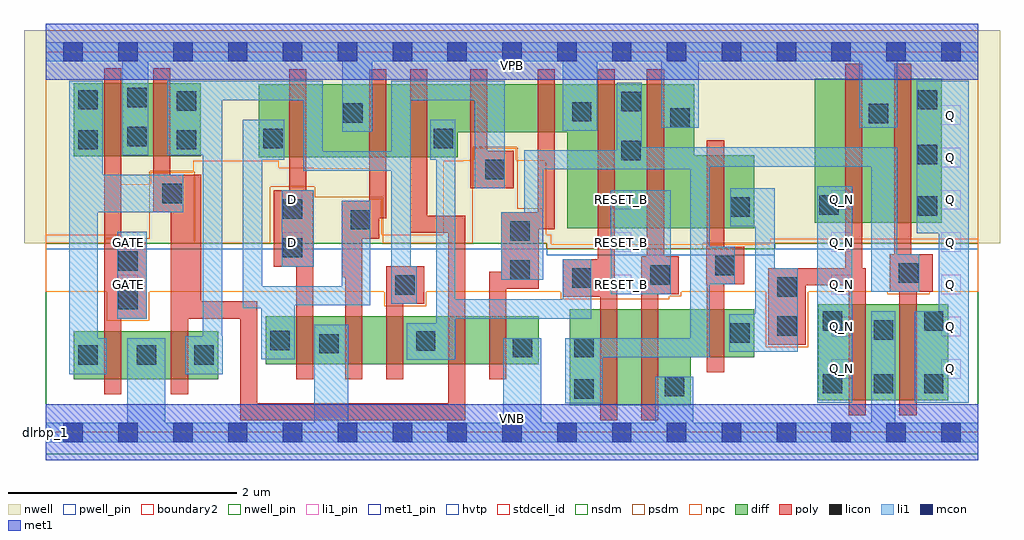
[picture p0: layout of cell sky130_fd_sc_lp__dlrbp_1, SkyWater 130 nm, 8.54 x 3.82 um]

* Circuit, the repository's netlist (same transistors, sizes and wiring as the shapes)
* Copyright 2020 The SkyWater PDK Authors
*
* Licensed under the Apache License, Version 2.0 (the "License");
* you may not use this file except in compliance with the License.
* You may obtain a copy of the License at
*
*     https://www.apache.org/licenses/LICENSE-2.0
*
* Unless required by applicable law or agreed to in writing, software
* distributed under the License is distributed on an "AS IS" BASIS,
* WITHOUT WARRANTIES OR CONDITIONS OF ANY KIND, either express or implied.
* See the License for the specific language governing permissions and
* limitations under the License.
*
* SPDX-License-Identifier: Apache-2.0

.SUBCKT sky130_fd_sc_lp__dlrbp_1 D GATE RESET_B VGND VNB VPB VPWR Q Q_N
*.PININFO D:I GATE:I RESET_B:I VGND:I VNB:I VPB:I VPWR:I Q:O Q_N:O
MI635 clkpos clkneg VPWR VPB sky130_fd_pr__pfet_01v8_hvt m=1 w=0.64U l=0.15U mult=1
+ sa=0.265 sb=0.265 sd=0.28 area=0.063 perim=1.14
MI648 Q_N net79 VPWR VPB sky130_fd_pr__pfet_01v8_hvt m=1 w=1.26U l=0.15U mult=1
+ sa=0.265 sb=0.265 sd=0.28 area=0.063 perim=1.14
MI17 M0 clkneg net51 VPB sky130_fd_pr__pfet_01v8_hvt m=1 w=0.64U l=0.15U mult=1
+ sa=0.265 sb=0.265 sd=0.28 area=0.063 perim=1.14
MI646 net79 m1 VPWR VPB sky130_fd_pr__pfet_01v8_hvt m=1 w=0.64U l=0.15U mult=1
+ sa=0.265 sb=0.265 sd=0.28 area=0.063 perim=1.14
MI650 Q m1 VPWR VPB sky130_fd_pr__pfet_01v8_hvt m=1 w=1.26U l=0.15U mult=1 sa=0.265
+ sb=0.265 sd=0.28 area=0.063 perim=1.14
MI633 clkneg GATE VPWR VPB sky130_fd_pr__pfet_01v8_hvt m=1 w=0.64U l=0.15U mult=1
+ sa=0.265 sb=0.265 sd=0.28 area=0.063 perim=1.14
MI658 m1 RESET_B VPWR VPB sky130_fd_pr__pfet_01v8_hvt m=1 w=1.26U l=0.15U mult=1
+ sa=0.265 sb=0.265 sd=0.28 area=0.063 perim=1.14
MI18 net51 db VPWR VPB sky130_fd_pr__pfet_01v8_hvt m=1 w=0.64U l=0.15U mult=1 sa=0.265
+ sb=0.265 sd=0.28 area=0.063 perim=1.14
MI653 net59 m1 VPWR VPB sky130_fd_pr__pfet_01v8_hvt m=1 w=0.42U l=0.15U mult=1
+ sa=0.265 sb=0.265 sd=0.28 area=0.063 perim=1.14
MI651 M0 clkpos net59 VPB sky130_fd_pr__pfet_01v8_hvt m=1 w=0.42U l=0.15U mult=1
+ sa=0.265 sb=0.265 sd=0.28 area=0.063 perim=1.14
MI655 m1 M0 VPWR VPB sky130_fd_pr__pfet_01v8_hvt m=1 w=1.26U l=0.15U mult=1 sa=0.265
+ sb=0.265 sd=0.28 area=0.063 perim=1.14
MI638 db D VPWR VPB sky130_fd_pr__pfet_01v8_hvt m=1 w=0.64U l=0.15U mult=1 sa=0.265
+ sb=0.265 sd=0.28 area=0.063 perim=1.14
MI634 clkneg GATE VGND VNB sky130_fd_pr__nfet_01v8 m=1 w=0.42U l=0.15U mult=1 sa=0.265
+ sb=0.265 sd=0.28 area=0.063 perim=1.14
MI647 Q_N net79 VGND VNB sky130_fd_pr__nfet_01v8 m=1 w=0.84U l=0.15U mult=1 sa=0.265
+ sb=0.265 sd=0.28 area=0.063 perim=1.14
MI649 Q m1 VGND VNB sky130_fd_pr__nfet_01v8 m=1 w=0.84U l=0.15U mult=1 sa=0.265
+ sb=0.265 sd=0.28 area=0.063 perim=1.14
MI645 net79 m1 VGND VNB sky130_fd_pr__nfet_01v8 m=1 w=0.42U l=0.15U mult=1 sa=0.265
+ sb=0.265 sd=0.28 area=0.063 perim=1.14
MI657 net86 RESET_B VGND VNB sky130_fd_pr__nfet_01v8 m=1 w=0.84U l=0.15U mult=1
+ sa=0.265 sb=0.265 sd=0.28 area=0.063 perim=1.14
MI652 M0 clkneg net102 VNB sky130_fd_pr__nfet_01v8 m=1 w=0.42U l=0.15U mult=1 sa=0.265
+ sb=0.265 sd=0.28 area=0.063 perim=1.14
MI654 net102 m1 VGND VNB sky130_fd_pr__nfet_01v8 m=1 w=0.42U l=0.15U mult=1 sa=0.265
+ sb=0.265 sd=0.28 area=0.063 perim=1.14
MI656 m1 M0 net86 VNB sky130_fd_pr__nfet_01v8 m=1 w=0.84U l=0.15U mult=1 sa=0.265
+ sb=0.265 sd=0.28 area=0.063 perim=1.14
MI636 clkpos clkneg VGND VNB sky130_fd_pr__nfet_01v8 m=1 w=0.42U l=0.15U mult=1
+ sa=0.265 sb=0.265 sd=0.28 area=0.063 perim=1.14
MI637 db D VGND VNB sky130_fd_pr__nfet_01v8 m=1 w=0.42U l=0.15U mult=1 sa=0.265
+ sb=0.265 sd=0.28 area=0.063 perim=1.14
MI19 M0 clkpos net98 VNB sky130_fd_pr__nfet_01v8 m=1 w=0.42U l=0.15U mult=1 sa=0.265
+ sb=0.265 sd=0.28 area=0.063 perim=1.14
MI20 net98 db VGND VNB sky130_fd_pr__nfet_01v8 m=1 w=0.42U l=0.15U mult=1 sa=0.265
+ sb=0.265 sd=0.28 area=0.063 perim=1.14
.ENDS sky130_fd_sc_lp__dlrbp_1

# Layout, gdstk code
import gdstk
lib = gdstk.Library(unit=1e-6, precision=1e-09)
def R(c, l, rs):  # rectangles x0, y0, x1, y1
    for r in rs: c.add(gdstk.rectangle(r[:2], r[2:], *l))
def A(c, l, x, y, w, h, nx, ny, dx, dy):  # array of equal rectangles
    R(c, l, [(x+i*dx, y+j*dy, x+i*dx+w, y+j*dy+h) for i in range(nx) for j in range(ny)])
def P(c, l, *ps):  # polygons
    for p in ps: c.add(gdstk.Polygon(p, *l))
nwell_pin = (64, 16)
nwell = (64, 20)
diff = (65, 20)
poly = (66, 20)
licon = (66, 44)
li1_pin = (67, 16)
li1 = (67, 20)
mcon = (67, 44)
met1_pin = (68, 16)
met1 = (68, 20)
hvtp = (78, 44)
stdcell_id = (81, 4)
nsdm = (93, 44)
psdm = (94, 20)
npc = (95, 20)
pwell_pin = (122, 16)
boundary2 = (236, 0)

sky130_fd_sc_lp__dlrbp_1 = lib.new_cell('sky130_fd_sc_lp__dlrbp_1')
R(sky130_fd_sc_lp__dlrbp_1, nwell_pin, [(0,3.085,8.16,3.33)])
P(sky130_fd_sc_lp__dlrbp_1, nwell, [(8.35,3.52),(-0.19,3.52),(-0.19,1.655),(4.385,1.655),(4.385,1.605),(6.38,1.605),(6.38,1.655),(8.35,1.655)])
R(sky130_fd_sc_lp__dlrbp_1, diff, [(6.76,0.28,7.895,1.12), (0.245,0.465,1.51,0.885), (1.925,0.595,4.315,1.015), (6.73,1.835,7.84,3.095), (0.245,2.415,1.355,3.055)])
P(sky130_fd_sc_lp__dlrbp_1, diff, [(6.2,2.425),(5.675,2.425),(5.675,3.045),(1.865,3.045),(1.865,2.405),(3.605,2.405),(3.605,2.625),(4.565,2.625),(4.565,1.785),(6.2,1.785)],
  [(6.2,1.075),(4.585,1.075),(4.585,0.235),(5.645,0.235),(5.645,0.655),(6.2,0.655)])
P(sky130_fd_sc_lp__dlrbp_1, poly, [(0.885,1.665),(0.66,1.665),(0.66,3.185),(0.51,3.185),(0.51,0.335),(0.66,0.335),(0.66,0.995),(0.885,0.995)],
  [(2.34,2.12),(2.28,2.12),(2.28,3.175),(2.13,3.175),(2.13,2.12),(1.995,2.12),(1.995,1.45),(2.19,1.45),(2.19,0.465),(2.34,0.465)],
  [(2.98,3.175),(2.83,3.175),(2.83,2.025),(2.59,2.025),(2.59,1.355),(2.62,1.355),(2.62,0.465),(2.77,0.465),(2.77,1.695),(2.92,1.695),(2.92,1.875),(2.98,1.875)],
  [(3.31,1.455),(2.98,1.455),(2.98,0.465),(3.13,0.465),(3.13,1.125),(3.31,1.125)],
  [(3.67,1.895),(3.34,1.895),(3.34,3.175),(3.19,3.175),(3.19,1.745),(3.52,1.745),(3.52,0.255),(1.85,0.255),(1.85,1.145),(1.36,1.145),(1.36,2.255),(1.09,2.255),(1.09,3.185),(0.94,3.185),(0.94,1.925),(1.095,1.925),(1.095,0.335),(1.245,0.335),(1.245,0.995),(1.7,0.995),(1.7,0.105),(3.67,0.105)],
  [(4.095,2.465),(3.865,2.465),(3.865,3.175),(3.715,3.175),(3.715,2.135),(4.095,2.135)],
  [(4.455,3.175),(4.305,3.175),(4.305,1.925),(3.985,1.925),(3.985,1.405),(3.88,1.405),(3.88,0.465),(4.03,0.465),(4.03,1.255),(4.315,1.255),(4.315,1.775),(4.455,1.775)],
  [(5,1.335),(4.98,1.335),(4.98,3.175),(4.83,3.175),(4.83,1.515),(4.525,1.515),(4.525,1.185),(4.85,1.185),(4.85,0.105),(5,0.105)],
  [(5.54,1.54),(5.41,1.54),(5.41,3.175),(5.26,3.175),(5.26,1.54),(5.21,1.54),(5.21,0.105),(5.36,0.105),(5.36,1.21),(5.54,1.21)],
  [(6.11,1.625),(5.935,1.625),(5.935,2.555),(5.785,2.555),(5.785,1.625),(5.78,1.625),(5.78,1.295),(5.785,1.295),(5.785,0.525),(5.935,0.525),(5.935,1.295),(6.11,1.295)],
  [(7.175,1.435),(7.145,1.435),(7.145,3.225),(6.995,3.225),(6.995,1.435),(6.32,1.435),(6.32,0.765),(6.65,0.765),(6.65,1.285),(7.025,1.285),(7.025,0.15),(7.175,0.15)],
  [(7.76,1.56),(7.575,1.56),(7.575,3.225),(7.425,3.225),(7.425,1.56),(7.385,1.56),(7.385,1.23),(7.47,1.23),(7.47,0.15),(7.62,0.15),(7.62,1.23),(7.76,1.23)])
R(sky130_fd_sc_lp__dlrbp_1, licon, [(4.625,0.295,4.795,0.465), (5.415,0.315,5.585,0.485), (6.8,0.34,6.97,0.51), (7.245,0.34,7.415,0.51), (7.685,0.34,7.855,0.51), (0.285,0.59,0.455,0.76), (0.795,0.59,0.965,0.76), (1.3,0.59,1.47,0.76), (4.085,0.655,4.255,0.825), (4.625,0.655,4.795,0.825), (2.395,0.69,2.565,0.86), (3.24,0.715,3.41,0.885), (1.965,0.72,2.135,0.89), (5.99,0.785,6.16,0.955), (7.245,0.81,7.415,0.98), (6.4,0.845,6.57,1.015), (6.8,0.89,6.97,1.06), (7.685,0.89,7.855,1.06), (0.635,1.075,0.805,1.245), (6.4,1.185,6.57,1.355), (3.06,1.205,3.23,1.375), (4.605,1.265,4.775,1.435), (5.29,1.29,5.46,1.46), (7.465,1.31,7.635,1.48), (4.065,1.335,4.235,1.505), (5.86,1.375,6.03,1.545), (0.635,1.415,0.805,1.585), (2.075,1.53,2.245,1.7), (4.065,1.675,4.235,1.845), (2.67,1.775,2.84,1.945), (2.075,1.87,2.245,2.04), (5.99,1.885,6.16,2.055), (7.63,1.895,7.8,2.065), (6.77,1.905,6.94,2.075), (1.02,2.005,1.19,2.175), (3.845,2.215,4.015,2.385), (7.63,2.345,7.8,2.515), (5.035,2.38,5.205,2.55), (0.285,2.475,0.455,2.645), (1.145,2.475,1.315,2.645), (1.905,2.485,2.075,2.655), (3.395,2.485,3.565,2.655), (0.715,2.505,0.885,2.675), (5.465,2.665,5.635,2.835), (7.2,2.705,7.37,2.875), (2.605,2.71,2.775,2.88), (4.605,2.72,4.775,2.89), (5.035,2.81,5.205,2.98), (1.145,2.815,1.315,2.985), (0.285,2.825,0.455,2.995), (7.63,2.825,7.8,2.995), (0.715,2.845,0.885,3.015)])
A(sky130_fd_sc_lp__dlrbp_1, li1_pin, 6.875, 0.47, 0.17, 0.17, 1, 5, 0, 0.37)
A(sky130_fd_sc_lp__dlrbp_1, li1_pin, 7.835, 0.47, 0.17, 0.17, 1, 7, 0, 0.37)
A(sky130_fd_sc_lp__dlrbp_1, li1_pin, 4.955, 1.21, 0.17, 0.17, 1, 3, 0, 0.37)
R(sky130_fd_sc_lp__dlrbp_1, li1_pin, [(0.635,1.21,0.805,1.38), (0.635,1.58,0.805,1.75), (2.075,1.58,2.245,1.75), (2.075,1.95,2.245,2.12)])
R(sky130_fd_sc_lp__dlrbp_1, li1, [(6.75,0.26,7.055,2.155), (0.625,0.995,0.885,1.755), (4.945,1.21,5.47,2.12), (2.065,1.45,2.345,2.12)])
P(sky130_fd_sc_lp__dlrbp_1, li1, [(1.205,2.255),(0.5,2.255),(0.5,3.075),(0.205,3.075),(0.205,0.51),(0.535,0.51),(0.535,0.825),(0.455,0.825),(0.455,1.925),(1.205,1.925)],
  [(4.015,3.075),(3.025,3.075),(3.025,2.46),(2.425,2.46),(2.425,3.075),(1.065,3.075),(1.065,2.425),(1.375,2.425),(1.375,0.84),(1.22,0.84),(1.22,0.51),(1.55,0.51),(1.55,0.84),(1.545,0.84),(1.545,2.905),(2.255,2.905),(2.255,2.29),(3.025,2.29),(3.025,1.125),(3.245,1.125),(3.245,1.455),(3.195,1.455),(3.195,2.905),(3.755,2.905),(3.755,2.135),(4.015,2.135)],
  [(2.595,2.63),(2.595,3.245),(0.895,3.245),(0.895,2.425),(0.67,2.425),(0.67,3.245),(0,3.245),(0,3.415),(8.16,3.415),(8.16,3.245),(7.45,3.245),(7.45,2.665),(7.12,2.665),(7.12,3.245),(5.715,3.245),(5.715,2.665),(5.385,2.665),(5.385,3.245),(4.825,3.245),(4.825,2.64),(4.525,2.64),(4.525,3.245),(2.855,3.245),(2.855,2.63)],
  [(2.35,0.085),(2.35,0.94),(2.645,0.94),(2.645,0.085),(4.005,0.085),(4.005,0.825),(4.335,0.825),(4.335,0.085),(5.335,0.085),(5.335,0.485),(5.665,0.485),(5.665,0.085),(7.225,0.085),(7.225,1.06),(7.435,1.06),(7.435,0.085),(8.16,0.085),(8.16,-0.085),(0,-0.085),(0,0.085),(0.715,0.085),(0.715,0.825),(1.045,0.825),(1.045,0.085)],
  [(7.645,1.56),(7.45,1.56),(7.45,2.495),(5.215,2.495),(5.215,3.06),(4.995,3.06),(4.995,2.47),(4.185,2.47),(4.185,1.925),(3.985,1.925),(3.985,1.335),(4.355,1.335),(4.355,2.3),(5.64,2.3),(5.64,0.825),(4.545,0.825),(4.545,0.255),(4.875,0.255),(4.875,0.655),(5.81,0.655),(5.81,1.295),(6.03,1.295),(6.03,1.625),(5.81,1.625),(5.81,2.325),(7.225,2.325),(7.225,1.23),(7.645,1.23)],
  [(6.38,1.435),(6.58,1.435),(6.58,0.705),(5.98,0.705),(5.98,1.035),(6.21,1.035),(6.21,1.805),(5.99,1.805),(5.99,2.135),(6.38,2.135)],
  [(8.075,3.075),(7.62,3.075),(7.62,1.74),(7.815,1.74),(7.815,1.06),(7.605,1.06),(7.605,0.26),(8.075,0.26)],
  [(3.585,1.165),(4.525,1.165),(4.525,1.515),(4.775,1.515),(4.775,0.995),(3.585,0.995),(3.585,0.635),(3.16,0.635),(3.16,0.955),(3.415,0.955),(3.415,2.385),(3.365,2.385),(3.365,2.735),(3.585,2.735)],
  [(1.895,2.385),(1.895,1.28),(2.59,1.28),(2.59,2.025),(2.84,2.025),(2.84,1.11),(2.18,1.11),(2.18,0.64),(1.885,0.64),(1.885,1.085),(1.725,1.085),(1.725,2.735),(2.085,2.735),(2.085,2.385)])
A(sky130_fd_sc_lp__dlrbp_1, mcon, 0.155, -0.085, 0.17, 0.17, 17, 2, 0.48, 3.33)
R(sky130_fd_sc_lp__dlrbp_1, met1_pin, [(0,0,8.16,0.245), (0,3.085,8.16,3.33)])
R(sky130_fd_sc_lp__dlrbp_1, met1, [(0,-0.245,8.16,0.245), (0,3.085,8.16,3.575)])
P(sky130_fd_sc_lp__dlrbp_1, hvtp, [(8.16,3.33),(0,3.33),(0,1.6),(4.385,1.6),(4.385,1.55),(6.38,1.55),(6.38,1.6),(8.16,1.6)])
R(sky130_fd_sc_lp__dlrbp_1, stdcell_id, [(0,0,8.16,3.33)])
P(sky130_fd_sc_lp__dlrbp_1, nsdm, [(8.16,1.655),(6.38,1.655),(6.38,1.605),(4.385,1.605),(4.385,1.655),(0,1.655),(0,-0.19),(8.16,-0.19)])
P(sky130_fd_sc_lp__dlrbp_1, psdm, [(8.16,3.52),(0,3.52),(0,1.655),(0.525,1.655),(0.525,1.695),(0.91,1.695),(0.91,2.285),(1.3,2.285),(1.3,1.655),(1.965,1.655),(1.965,2.15),(2.355,2.15),(2.355,2.055),(2.95,2.055),(2.95,1.655),(3.735,1.655),(3.735,2.495),(4.125,2.495),(4.125,1.955),(4.345,1.955),(4.345,1.655),(4.385,1.655),(4.385,1.605),(5.75,1.605),(5.75,1.655),(8.16,1.655)])
P(sky130_fd_sc_lp__dlrbp_1, npc, [(8.16,1.695),(6.34,1.695),(6.34,1.645),(4.425,1.645),(4.425,1.73),(4.38,1.73),(4.38,2.38),(4.115,2.38),(4.115,2.485),(3.745,2.485),(3.745,2.38),(3.655,2.38),(3.655,2.375),(3.48,2.375),(3.48,1.73),(2.94,1.73),(2.94,2.045),(2.835,2.045),(2.835,2.31),(2.345,2.31),(2.345,2.315),(2.04,2.315),(2.04,2.375),(1.29,2.375),(1.29,2.275),(0.92,2.275),(0.92,2.17),(0.655,2.17),(0.655,1.73),(0,1.73),(0,1.23),(0.535,1.23),(0.535,0.975),(0.905,0.975),(0.905,1.23),(2.96,1.23),(2.96,1.105),(3.33,1.105),(3.33,1.23),(4.505,1.23),(4.505,1.165),(5.455,1.165),(5.455,1.19),(5.56,1.19),(5.56,1.23),(6.3,1.23),(6.3,0.745),(6.67,0.745),(6.67,1.23),(7.365,1.23),(7.365,1.21),(7.735,1.21),(7.735,1.23),(8.16,1.23)])
R(sky130_fd_sc_lp__dlrbp_1, pwell_pin, [(0,0,8.16,0.245)])
R(sky130_fd_sc_lp__dlrbp_1, boundary2, [(0,0,8.16,3.33)])
sky130_fd_sc_lp__dlrbp_1.add(gdstk.Label('VNB', (4.08,0.123), layer=64, texttype=59))
sky130_fd_sc_lp__dlrbp_1.add(gdstk.Label('VPB', (4.08,3.208), layer=64, texttype=5))
sky130_fd_sc_lp__dlrbp_1.add(gdstk.Label('dlrbp_1', (0,0), layer=83, texttype=44))
sky130_fd_sc_lp__dlrbp_1.add(gdstk.Label('VPWR', (4.08,3.208), layer=68, texttype=5))
sky130_fd_sc_lp__dlrbp_1.add(gdstk.Label('VGND', (4.08,0.123), layer=68, texttype=5))
sky130_fd_sc_lp__dlrbp_1.add(gdstk.Label('D', (2.16,1.665), layer=67, texttype=5))
sky130_fd_sc_lp__dlrbp_1.add(gdstk.Label('D', (2.16,2.035), layer=67, texttype=5))
sky130_fd_sc_lp__dlrbp_1.add(gdstk.Label('GATE', (0.72,1.295), layer=67, texttype=5))
sky130_fd_sc_lp__dlrbp_1.add(gdstk.Label('GATE', (0.72,1.665), layer=67, texttype=5))
sky130_fd_sc_lp__dlrbp_1.add(gdstk.Label('RESET_B', (5.04,1.295), layer=67, texttype=5))
sky130_fd_sc_lp__dlrbp_1.add(gdstk.Label('RESET_B', (5.04,1.665), layer=67, texttype=5))
sky130_fd_sc_lp__dlrbp_1.add(gdstk.Label('RESET_B', (5.04,2.035), layer=67, texttype=5))
sky130_fd_sc_lp__dlrbp_1.add(gdstk.Label('Q_N', (6.96,0.555), layer=67, texttype=5))
sky130_fd_sc_lp__dlrbp_1.add(gdstk.Label('Q_N', (6.96,0.925), layer=67, texttype=5))
sky130_fd_sc_lp__dlrbp_1.add(gdstk.Label('Q_N', (6.96,1.295), layer=67, texttype=5))
sky130_fd_sc_lp__dlrbp_1.add(gdstk.Label('Q_N', (6.96,1.665), layer=67, texttype=5))
sky130_fd_sc_lp__dlrbp_1.add(gdstk.Label('Q_N', (6.96,2.035), layer=67, texttype=5))
sky130_fd_sc_lp__dlrbp_1.add(gdstk.Label('Q', (7.92,0.555), layer=67, texttype=5))
sky130_fd_sc_lp__dlrbp_1.add(gdstk.Label('Q', (7.92,0.925), layer=67, texttype=5))
sky130_fd_sc_lp__dlrbp_1.add(gdstk.Label('Q', (7.92,1.295), layer=67, texttype=5))
sky130_fd_sc_lp__dlrbp_1.add(gdstk.Label('Q', (7.92,1.665), layer=67, texttype=5))
sky130_fd_sc_lp__dlrbp_1.add(gdstk.Label('Q', (7.92,2.035), layer=67, texttype=5))
sky130_fd_sc_lp__dlrbp_1.add(gdstk.Label('Q', (7.92,2.405), layer=67, texttype=5))
sky130_fd_sc_lp__dlrbp_1.add(gdstk.Label('Q', (7.92,2.775), layer=67, texttype=5))

lib.write_gds('sky130_fd_sc_lp__dlrbp_1.gds')
